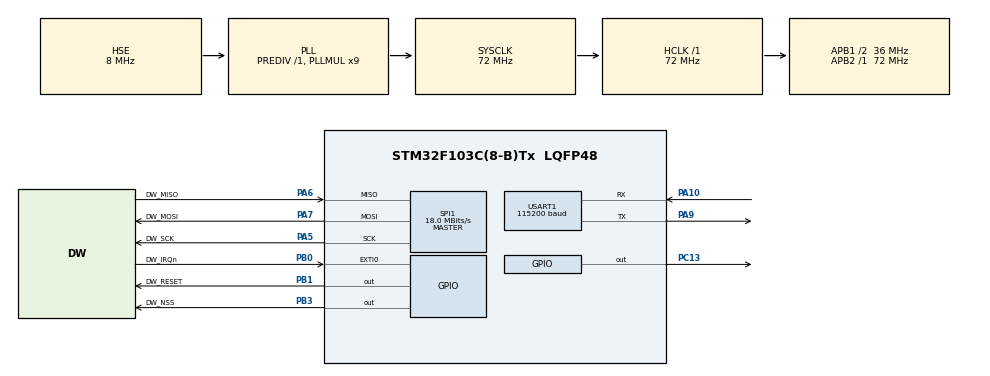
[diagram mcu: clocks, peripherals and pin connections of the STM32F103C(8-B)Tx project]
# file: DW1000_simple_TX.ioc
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Mcu.Family=STM32F1
Mcu.Name=STM32F103C(8-B)Tx
Mcu.Package=LQFP48
NVIC.PriorityGroup=NVIC_PRIORITYGROUP_4
PA10.Mode=Asynchronous
PA10.Signal=USART1_RX
PA13.Mode=Serial_Wire
PA13.Signal=SYS_JTMS-SWDIO
PA14.Mode=Serial_Wire
PA14.Signal=SYS_JTCK-SWCLK
PA5.GPIO_Label=DW_SCK
PA5.Mode=Full_Duplex_Master
PA5.Signal=SPI1_SCK
PA6.GPIO_Label=DW_MISO
PA6.Mode=Full_Duplex_Master
PA6.Signal=SPI1_MISO
PA7.GPIO_Label=DW_MOSI
PA7.Mode=Full_Duplex_Master
PA7.Signal=SPI1_MOSI
PA9.Mode=Asynchronous
PA9.Signal=USART1_TX
PB0.GPIO_Label=DW_IRQn
PB0.Signal=GPXTI0
PB1.GPIO_Label=DW_RESET
PB1.GPIO_ModeDefaultOutputPP=GPIO_MODE_OUTPUT_OD
PB1.GPIO_PuPd=GPIO_NOPULL
PB1.Signal=GPIO_Output
PB3.GPIO_Label=DW_NSS
PB3.Signal=GPIO_Output
PC13-TAMPER-RTC.Signal=GPIO_Output
PD0-OSC_IN.Mode=HSE-External-Oscillator
PD0-OSC_IN.Signal=RCC_OSC_IN
PD1-OSC_OUT.Mode=HSE-External-Oscillator
PD1-OSC_OUT.Signal=RCC_OSC_OUT
ProjectManager.HeapSize=0x200
ProjectManager.StackSize=0x400
ProjectManager.TargetToolchain=STM32CubeIDE
RCC.AHBFreq_Value=72000000
RCC.APB1CLKDivider=RCC_HCLK_DIV2
RCC.APB1Freq_Value=36000000
RCC.APB1TimFreq_Value=72000000
RCC.APB2Freq_Value=72000000
RCC.APB2TimFreq_Value=72000000
RCC.HCLKFreq_Value=72000000
RCC.PLLMUL=RCC_PLL_MUL9
RCC.PLLSourceVirtual=RCC_PLLSOURCE_HSE
RCC.SYSCLKFreq_VALUE=72000000
RCC.SYSCLKSource=RCC_SYSCLKSOURCE_PLLCLK
RCC.USBFreq_Value=72000000
SPI1.BaudRatePrescaler=SPI_BAUDRATEPRESCALER_4
SPI1.CalculateBaudRate=18.0 MBits/s
SPI1.Direction=SPI_DIRECTION_2LINES
SPI1.Mode=SPI_MODE_MASTER
SPI1.VirtualType=VM_MASTER
USART1.BaudRate=115200
USART1.VirtualMode=VM_ASYNC
board=custom

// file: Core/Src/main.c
/* USER CODE BEGIN Header */
/**
  ******************************************************************************
  * @file           : main.c
  * @brief          : Main program body
  ******************************************************************************
  * @attention
  *
  * <h2><center>&copy; Copyright (c) 2020 STMicroelectronics.
  * All rights reserved.</center></h2>
  *
  * This software component is licensed by ST under BSD 3-Clause license,
  * the "License"; You may not use this file except in compliance with the
  * License. You may obtain a copy of the License at:
  *                        opensource.org/licenses/BSD-3-Clause
  *
  ******************************************************************************
  */
/* USER CODE END Header */

#include "main.h"

/* USER CODE BEGIN Includes */
#include "string.h"
#include "platform/deca_device_api.h"
#include "platform/deca_regs.h"
#include "platform/stdio.h"
#include "platform/deca_spi.h"
#include "platform/port.h"
/* USER CODE END Includes */

SPI_HandleTypeDef hspi1;

UART_HandleTypeDef huart1;

/* USER CODE BEGIN PV */

void long_flash()
{
	  HAL_GPIO_WritePin(GPIOC, GPIO_PIN_13, GPIO_PIN_RESET);
	  HAL_Delay(1000);
	  HAL_GPIO_WritePin(GPIOC, GPIO_PIN_13, GPIO_PIN_SET);
	  HAL_Delay(1000);
}
void short_flash()
{
	  HAL_GPIO_WritePin(GPIOC, GPIO_PIN_13, GPIO_PIN_RESET);
	  HAL_Delay(200);
	  HAL_GPIO_WritePin(GPIOC, GPIO_PIN_13, GPIO_PIN_SET);
	  HAL_Delay(200);
}
void debugPrint(char _out[])
{
	 HAL_UART_Transmit(&huart1, (uint8_t *) _out, strlen(_out), 200);
	 //char newline[2] = "\r\n";
	 //HAL_UART_Transmit(&huart1, (uint8_t *) newline, 2, 200);
}
void debugInt32Hexln(uint32_t uint32data)
{
	char buff[8];
	sprintf(buff,"%08X",uint32data);
	HAL_UART_Transmit(&huart1, buff, 8, 200);
	char newline[2] = "\r\n";
	HAL_UART_Transmit(&huart1, (uint8_t *) newline, 2, 200);
}
void debugInt16Hexln(uint16_t data)
{
	char buff[4];
	sprintf(buff,"%04X",data);
	HAL_UART_Transmit(&huart1, buff, 4, 200);
	char newline[2] = "\r\n";
	HAL_UART_Transmit(&huart1, (uint8_t *) newline, 2, 200);
}
void debugInt8Hexln(uint8_t uint8data)
{
	char buff[2];
	sprintf(buff,"%02X",uint8data);
	HAL_UART_Transmit(&huart1, buff, 2, 200);
	char newline[2] = "\r\n";
	HAL_UART_Transmit(&huart1, (uint8_t *) newline, 2, 200);
}
void debugInt8Hex(uint8_t uint8data)
{
	char buff[2];
	sprintf(buff,"%02X",uint8data);
	HAL_UART_Transmit(&huart1, buff, 2, 200);
}
uint8 DW1000_init_fail()
{
	uint8 init_fail = 1;
	uint8 const fail_count = 20;
	for(uint8 i=0;i<fail_count;i++){
	  if (!(dwt_initialise(DWT_LOADUCODE) == DWT_ERROR))
	  {
		  debugPrint("INIT SUCCESS\r\n");
		  init_fail = 0;
		  break;
	  }
	}
	return init_fail;
}
void DW1000_initiate()
{
	while(dwt_read16bitoffsetreg(AGC_CTRL_ID,AGC_TUNE1_OFFSET)!=0x8870)
		dwt_write16bitoffsetreg(AGC_CTRL_ID,AGC_TUNE1_OFFSET,0x8870);
	while(dwt_read32bitoffsetreg(DRX_CONF_ID,DRX_TUNE2_OFFSET)!=0x311A002D)
		dwt_write32bitoffsetreg(DRX_CONF_ID,DRX_TUNE2_OFFSET,0x311A002D);
	while(dwt_read8bitoffsetreg(LDE_IF_ID,LDE_CFG1_OFFSET)!=0x6D)
		dwt_write8bitoffsetreg(LDE_IF_ID,LDE_CFG1_OFFSET,0x6D);
	while(dwt_read16bitoffsetreg(LDE_IF_ID,LDE_CFG2_OFFSET)!=0x1607)
		dwt_write16bitoffsetreg(LDE_IF_ID,LDE_CFG2_OFFSET,0x1607);
	while(dwt_read32bitreg(TX_POWER_ID)!=0x0E082848)
		dwt_write32bitreg(TX_POWER_ID,0x0E082848);
	while(dwt_read32bitreg(SYS_CFG_ID)!=0x00001600)
		dwt_write32bitreg(SYS_CFG_ID,0x00001600);
	while(dwt_read8bitoffsetreg(FS_CTRL_ID,FS_PLLTUNE_OFFSET)!=0xBE)
		dwt_write8bitoffsetreg(FS_CTRL_ID,FS_PLLTUNE_OFFSET,0xBE);
}
void spi_test()
{
 uint8 dataA[10] = {0x11,0x22,0x33,0x44,0x55,0x66,0x78,0x9A,0xBC,0xDE};
 uint8 dataB[10];
 dwt_writetodevice(0x21, 0, 10, &dataA);
 while(1)
 {
	  HAL_Delay(1000);
	  for(uint8 i =0;i<10;i++)dataB[i] = 0x00;
	  dwt_readfromdevice(0x21, 0 , 10,&dataB);
	  debugInt8Hex(dataB[0]);
	  debugInt8Hex(dataB[1]);
	  debugInt8Hex(dataB[2]);
	  debugInt8Hex(dataB[3]);
	  debugInt8Hex(dataB[4]);
	  debugInt8Hex(dataB[5]);
	  debugInt8Hex(dataB[6]);
	  debugInt8Hex(dataB[7]);
	  debugInt8Hex(dataB[8]);
	  debugInt8Hex(dataB[9]);
	  debugPrint("\r\n");
 }
}
/*-------------------------------------define ---------*/

/* Inter-ranging delay period, in milliseconds. */
#define RNG_DELAY_MS 1000

/* Default communication configuration. We use here EVK1000's default mode (mode 3). */
static dwt_config_t config = {
    2,               /* Channel number. */
    DWT_PRF_64M,     /* Pulse repetition frequency. */
    DWT_PLEN_1024,   /* Preamble length. Used in TX only. */
    DWT_PAC32,       /* Preamble acquisition chunk size. Used in RX only. */
    9,               /* TX preamble code. Used in TX only. */
    9,               /* RX preamble code. Used in RX only. */
    1,               /* 0 to use standard SFD, 1 to use non-standard SFD. */
    DWT_BR_110K,     /* Data rate. */
    DWT_PHRMODE_STD, /* PHY header mode. */
    (1025 + 64 - 32) /* SFD timeout (preamble length + 1 + SFD length - PAC size). Used in RX only. */
};

/* The frame sent in this example is an 802.15.4e standard blink. It is a 12-byte frame composed of the following fields:
 *     - byte 0: frame type (0xC5 for a blink).
 *     - byte 1: sequence number, incremented for each new frame.
 *     - byte 2 -> 9: device ID, see NOTE 1 below.
 *     - byte 10/11: frame check-sum, automatically set by DW1000.  */
static uint8 tx_msg[] = {0xC5, 0, 'D', 'E', 'C', 'A', 'W', 'A', 'V', 'E', 0, 0};
/*
D 0x44
E 0x45
C 0x43
A 0x41
W 0x57
A 0x41
V 0x56
E 0x45
*/
/* Index to access to sequence number of the blink frame in the tx_msg array. */
#define BLINK_FRAME_SN_IDX 1

/* Inter-frame delay period, in milliseconds. */
#define TX_DELAY_MS 2000

/* USER CODE END PV */

void SystemClock_Config(void);
static void MX_GPIO_Init(void);
static void MX_USART1_UART_Init(void);
static void MX_SPI1_Init(void);

int main(void)
{

  /* MCU Configuration--------------------------------------------------------*/

  /* Reset of all peripherals, Initializes the Flash interface and the Systick. */
  HAL_Init();

  /* Configure the system clock */
  SystemClock_Config();

  /* Initialize all configured peripherals */
  MX_GPIO_Init();
  MX_USART1_UART_Init();
  MX_SPI1_Init();
  /* USER CODE BEGIN 2 */
  uint32 u32;
  port_set_dw1000_slowrate();
  //port_set_dw1000_fastrate();
  debugPrint("\r\n===============Restart_TX V1.0.0=================\r\n");
  while(1)
  {
	  //DWReset();
	  debugInt32Hexln(dwt_read32bitreg(SYS_STATUS_ID));
	  reset_DW1000();
	  debugInt32Hexln(dwt_read32bitreg(DEV_ID_ID));
	  debugInt32Hexln(dwt_read32bitreg(SYS_STATUS_ID));
	  if(DW1000_init_fail())continue; //1 means initiate fails
	  HAL_Delay(1000);
	  debugInt32Hexln(dwt_read32bitreg(SYS_STATUS_ID));
//	  debugInt32Hexln(u32);
//	  debugInt32Hexln(u32);

	  //port_set_dw1000_fastrate();
	  //debugInt32Hexln(dwt_read32bitoffsetreg(EXT_SYNC_ID,EC_CTRL_OFFSET));
	  //reset_DW1000(); /* Target specific drive of RSTn line into DW1000 low for a period. */

	  DW1000_initiate();
	  debugInt16Hexln(dwt_read16bitoffsetreg(AGC_CTRL_ID,AGC_TUNE1_OFFSET));
	  debugInt32Hexln(dwt_read32bitoffsetreg(DRX_CONF_ID,DRX_TUNE2_OFFSET));
	  debugInt8Hexln(dwt_read8bitoffsetreg(LDE_IF_ID,LDE_CFG1_OFFSET));
	  debugInt16Hexln(dwt_read16bitoffsetreg(LDE_IF_ID,LDE_CFG2_OFFSET));
	  debugInt32Hexln(dwt_read32bitreg(TX_POWER_ID));
	  debugInt32Hexln(dwt_read32bitreg(SYS_STATE_ID)&0x000F0000);
	  debugInt32Hexln(dwt_read32bitreg(SYS_STATUS_ID));
	  debugInt8Hexln(dwt_read8bitoffsetreg(FS_CTRL_ID,FS_PLLTUNE_OFFSET));

	  debugInt32Hexln(dwt_read32bitoffsetreg(EXT_SYNC_ID,EC_CTRL_OFFSET));
	  debugPrint("******************\r\n");
	  //spi_test();
	  while(1);

	  /* Configure DW1000. See NOTE 7 below. */
	  dwt_configure(&config);

	  HAL_Delay(200);
	  u32 = 0;
	  u32 = dwt_read32bitreg(SYS_STATUS_ID);
	  //debugInt32Hexln(u32);
	  if (u32 != 0x02800002)continue;

	  uint32 totcheck = 0;

	  /* Loop forever sending frames periodically. */
	 while(1)
	 {
		 /* Write frame data to DW1000 and prepare transmission. See NOTE 4 below.*/
		 //reset_DW1000(); /* Target specific drive of RSTn line into DW1000 low for a period. */
		 //if(DW1000_init() == 1)continue;
		 //dwt_configure(&config);
		 //HAL_Delay(200);
		 //u32 = 0;
		 //u32 = dwt_read32bitreg(SYS_STATUS_ID);
		 //if (u32 != 0x02800002)continue;

		 dwt_writetxdata(sizeof(tx_msg), tx_msg, 0); /* Zero offset in TX buffer. */
		 dwt_writetxfctrl(sizeof(tx_msg), 0, 0); /* Zero offset in TX buffer, no ranging. */

		 totcheck = 0;
		 while ( u32 != 0x02800000)
		 {
		 	 dwt_write32bitreg(SYS_STATUS_ID, 0x000000F0);
			 u32 = dwt_read32bitreg(SYS_STATUS_ID);
			 totcheck ++;
			 if (totcheck >10)break;
		 }
//		 if (u32 != 0x02800002)continue;

		 /* Start transmission. */
		 debugPrint("*");
		 debugInt32Hexln(dwt_read32bitreg(SYS_STATUS_ID));
		 dwt_starttx(DWT_START_TX_IMMEDIATE);
//		  while(1)
//		  {
//			  dwt_starttx(DWT_START_TX_IMMEDIATE);
//			  debugInt32Hexln(dwt_read32bitreg(SYS_STATE_ID));
//			  debugInt32Hexln(dwt_read32bitreg(SYS_STATE_ID));
//			  debugInt32Hexln(dwt_read32bitreg(SYS_STATE_ID));
//			  debugInt32Hexln(dwt_read32bitreg(SYS_STATE_ID));
//			  debugInt32Hexln(dwt_read32bitreg(SYS_STATE_ID));
//			  debugInt32Hexln(dwt_read32bitreg(SYS_STATE_ID));
//			  debugInt32Hexln(dwt_read32bitreg(SYS_STATE_ID));
//			  debugInt32Hexln(dwt_read32bitreg(SYS_STATE_ID));
//			  debugPrint("%%%%%%%%%%%\r\n");
//			  HAL_Delay(1000);
//		  }

		 /* Poll DW1000 until TX frame sent event set. See NOTE 5 below.
		  * STATUS register is 5 bytes long but, as the event we are looking at is in the first byte of the register, we can use this simplest API
		  * function to access it.*/
		 u32 = 0;
		 u32 = dwt_read32bitreg(SYS_STATUS_ID);
		 while ( (u32 & SYS_STATUS_TXFRS) != SYS_STATUS_TXFRS)
		 {
			 //debugPrint("not ok\r\n");
			 u32 = dwt_read32bitreg(SYS_STATUS_ID);
			 totcheck ++;
			 if (totcheck >1024)break;
		 }
		 if ((u32 & SYS_STATUS_TXFRS) != SYS_STATUS_TXFRS)continue;

		 debugPrint("^");
		 debugInt32Hexln(u32);

		 debugPrint("--ok!\r\n");

		 /* Clear TX frame sent event. */
		 dwt_write32bitreg(SYS_STATUS_ID, SYS_STATUS_TXFRS);

		 /* Execute a delay between transmissions. */
		 Sleep(TX_DELAY_MS);
		 short_flash();

		 /* Increment the blink frame sequence number (modulo 256). */
		 tx_msg[BLINK_FRAME_SN_IDX]++;
	 }

	  while(1);
  }

  /* USER CODE END 2 */

  /* Infinite loop */
  while (1)
  {

  }
}

void SystemClock_Config(void)
{
  RCC_OscInitTypeDef RCC_OscInitStruct = {0};
  RCC_ClkInitTypeDef RCC_ClkInitStruct = {0};

  /** Initializes the CPU, AHB and APB busses clocks
  */
  RCC_OscInitStruct.OscillatorType = RCC_OSCILLATORTYPE_HSE;
  RCC_OscInitStruct.HSEState = RCC_HSE_ON;
  RCC_OscInitStruct.HSEPredivValue = RCC_HSE_PREDIV_DIV1;
  RCC_OscInitStruct.HSIState = RCC_HSI_ON;
  RCC_OscInitStruct.PLL.PLLState = RCC_PLL_ON;
  RCC_OscInitStruct.PLL.PLLSource = RCC_PLLSOURCE_HSE;
  RCC_OscInitStruct.PLL.PLLMUL = RCC_PLL_MUL9;
  if (HAL_RCC_OscConfig(&RCC_OscInitStruct) != HAL_OK)
  {
    Error_Handler();
  }
  /** Initializes the CPU, AHB and APB busses clocks
  */
  RCC_ClkInitStruct.ClockType = RCC_CLOCKTYPE_HCLK|RCC_CLOCKTYPE_SYSCLK
                              |RCC_CLOCKTYPE_PCLK1|RCC_CLOCKTYPE_PCLK2;
  RCC_ClkInitStruct.SYSCLKSource = RCC_SYSCLKSOURCE_PLLCLK;
  RCC_ClkInitStruct.AHBCLKDivider = RCC_SYSCLK_DIV1;
  RCC_ClkInitStruct.APB1CLKDivider = RCC_HCLK_DIV2;
  RCC_ClkInitStruct.APB2CLKDivider = RCC_HCLK_DIV1;

  if (HAL_RCC_ClockConfig(&RCC_ClkInitStruct, FLASH_LATENCY_2) != HAL_OK)
  {
    Error_Handler();
  }
}

static void MX_SPI1_Init(void)
{

  /* SPI1 parameter configuration*/
  hspi1.Instance = SPI1;
  hspi1.Init.Mode = SPI_MODE_MASTER;
  hspi1.Init.Direction = SPI_DIRECTION_2LINES;
  hspi1.Init.DataSize = SPI_DATASIZE_8BIT;
  hspi1.Init.CLKPolarity = SPI_POLARITY_LOW;
  hspi1.Init.CLKPhase = SPI_PHASE_1EDGE;
  hspi1.Init.NSS = SPI_NSS_SOFT;
  hspi1.Init.BaudRatePrescaler = SPI_BAUDRATEPRESCALER_4;
  hspi1.Init.FirstBit = SPI_FIRSTBIT_MSB;
  hspi1.Init.TIMode = SPI_TIMODE_DISABLE;
  hspi1.Init.CRCCalculation = SPI_CRCCALCULATION_DISABLE;
  hspi1.Init.CRCPolynomial = 10;
  if (HAL_SPI_Init(&hspi1) != HAL_OK)
  {
    Error_Handler();
  }

}

static void MX_USART1_UART_Init(void)
{

  huart1.Instance = USART1;
  huart1.Init.BaudRate = 115200;
  huart1.Init.WordLength = UART_WORDLENGTH_8B;
  huart1.Init.StopBits = UART_STOPBITS_1;
  huart1.Init.Parity = UART_PARITY_NONE;
  huart1.Init.Mode = UART_MODE_TX_RX;
  huart1.Init.HwFlowCtl = UART_HWCONTROL_NONE;
  huart1.Init.OverSampling = UART_OVERSAMPLING_16;
  if (HAL_UART_Init(&huart1) != HAL_OK)
  {
    Error_Handler();
  }

}

static void MX_GPIO_Init(void)
{
  GPIO_InitTypeDef GPIO_InitStruct = {0};

  /* GPIO Ports Clock Enable */
  __HAL_RCC_GPIOC_CLK_ENABLE();
  __HAL_RCC_GPIOD_CLK_ENABLE();
  __HAL_RCC_GPIOA_CLK_ENABLE();
  __HAL_RCC_GPIOB_CLK_ENABLE();

  /*Configure GPIO pin Output Level */
  HAL_GPIO_WritePin(GPIOC, GPIO_PIN_13, GPIO_PIN_RESET);

  /*Configure GPIO pin Output Level */
  HAL_GPIO_WritePin(GPIOB, DW_RESET_Pin|DW_NSS_Pin, GPIO_PIN_RESET);

  /*Configure GPIO pin : PC13 */
  GPIO_InitStruct.Pin = GPIO_PIN_13;
  GPIO_InitStruct.Mode = GPIO_MODE_OUTPUT_PP;
  GPIO_InitStruct.Pull = GPIO_NOPULL;
  GPIO_InitStruct.Speed = GPIO_SPEED_FREQ_LOW;
  HAL_GPIO_Init(GPIOC, &GPIO_InitStruct);

  /*Configure GPIO pin : DW_IRQn_Pin */
  GPIO_InitStruct.Pin = DW_IRQn_Pin;
  GPIO_InitStruct.Mode = GPIO_MODE_IT_RISING;
  GPIO_InitStruct.Pull = GPIO_NOPULL;
  HAL_GPIO_Init(DW_IRQn_GPIO_Port, &GPIO_InitStruct);

  /*Configure GPIO pin : DW_RESET_Pin */
  GPIO_InitStruct.Pin = DW_RESET_Pin;
  GPIO_InitStruct.Mode = GPIO_MODE_OUTPUT_OD;
  GPIO_InitStruct.Pull = GPIO_NOPULL;
  GPIO_InitStruct.Speed = GPIO_SPEED_FREQ_LOW;
  HAL_GPIO_Init(DW_RESET_GPIO_Port, &GPIO_InitStruct);

  /*Configure GPIO pin : DW_NSS_Pin */
  GPIO_InitStruct.Pin = DW_NSS_Pin;
  GPIO_InitStruct.Mode = GPIO_MODE_OUTPUT_PP;
  GPIO_InitStruct.Pull = GPIO_NOPULL;
  GPIO_InitStruct.Speed = GPIO_SPEED_FREQ_LOW;
  HAL_GPIO_Init(DW_NSS_GPIO_Port, &GPIO_InitStruct);

}

void Error_Handler(void)
{
}

/************************ (C) COPYRIGHT STMicroelectronics *****END OF FILE****/
